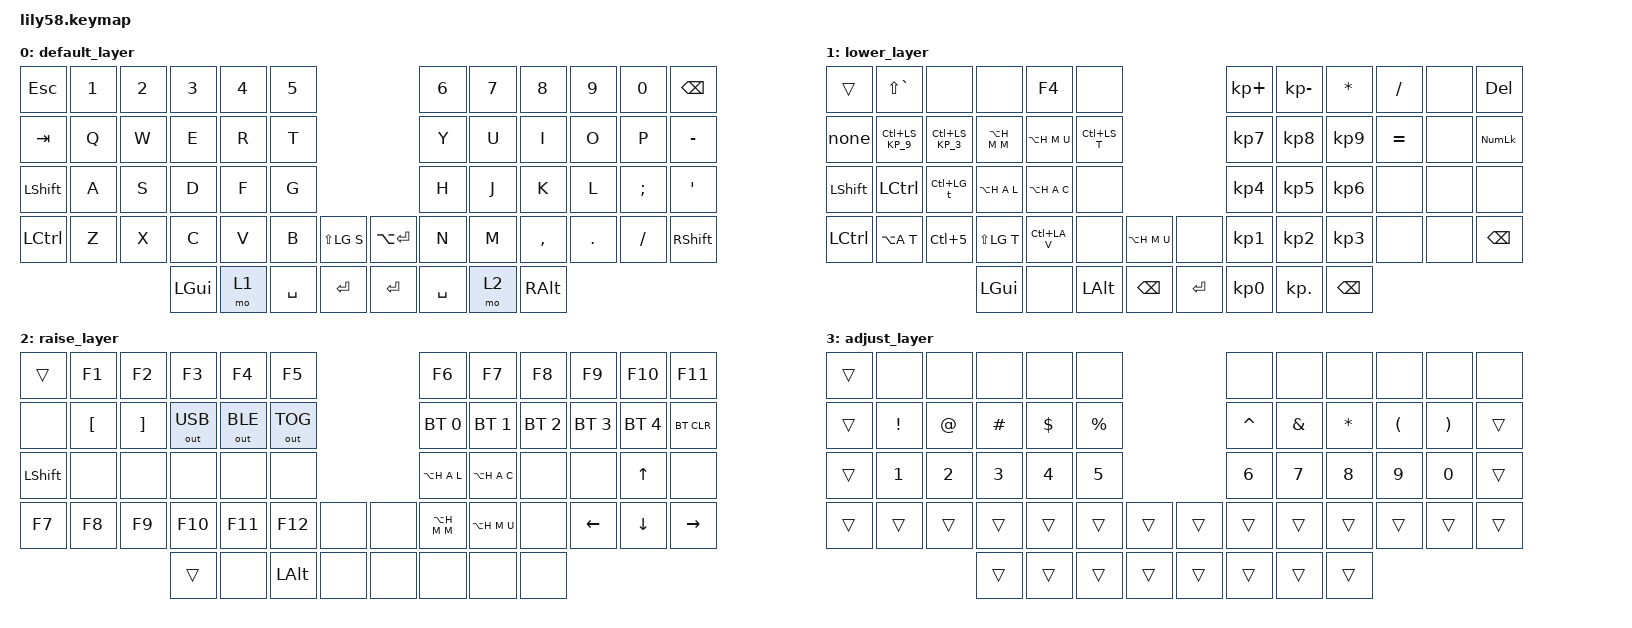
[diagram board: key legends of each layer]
/*
 * Copyright (c) 2020 The ZMK Contributors
 *
 * SPDX-License-Identifier: MIT
 */

 #include <behaviors.dtsi>
 #include <dt-bindings/zmk/keys.h>
 #include <dt-bindings/zmk/outputs.h>
 #include <dt-bindings/zmk/bt.h>


 
 / {
     conditional_layers {
         compatible = "zmk,conditional-layers";
 
         adjust_layer {
             if-layers = <1 2>;
             then-layer = <3>;
         };
     };
 
     keymap {
         compatible = "zmk,keymap";
 
         default_layer {
            bindings = <
&kp ESC   &kp N1   &kp N2 &kp N3    &kp N4   &kp N5                                 &kp N6    &kp N7   &kp N8    &kp N9  &kp N0   &kp BSPC
&kp TAB   &kp Q    &kp W  &kp E     &kp R    &kp T                                  &kp Y     &kp U    &kp I     &kp O   &kp P    &kp MINUS
&kp LSHFT &kp A    &kp S  &kp D     &kp F    &kp G                                  &kp H     &kp J    &kp K     &kp L   &kp SEMI &kp SQT
&kp LCTRL &kp Z    &kp X  &kp C     &kp V    &kp B     &kp LS(LG S)   &kp LA(RET) &kp N     &kp M    &kp COMMA &kp DOT &kp FSLH &kp RSHFT
                            &kp LGUI  &mo 1    &kp SPACE &kp RET          &kp RET     &kp SPACE &mo 2    &kp RALT
            >;
         };
         lower_layer {
         bindings = <
&trans    &kp LS(GRAVE)    &none             &none             &kp F4          &none                                     &kp KP_PLUS  &kp KP_MINUS   &kp ASTRK  &kp FSLH    &none      &kp DEL 
&kp none   &kp LC(LS KP_9)  &kp LC(LS KP_3)   &kp LA(H M M)     &kp LA(H M U)   &kp LC(LS T)                              &kp KP_7     &kp KP_8       &kp KP_9   &kp EQUAL   &none      &kp KP_NLCK  
&kp LSHFT  &kp LCTRL        &kp LC(LG t)      &kp LA(H A L)     &kp LA(H A C)   &none                                     &kp KP_4     &kp KP_5       &kp KP_6   &none       &none      &none    
&kp LCTRL  &kp LA(A T)      &kp LC(N5)        &kp LS(LG T)      &kp LC(LA V)    &none         &kp LA(H M U)     &none     &kp KP_1     &kp KP_2       &kp KP_3   &none       &none      &kp BSPC   
                                              &kp LGUI          &none           &kp LALT      &kp BSPC          &kp RET   &kp KP_0     &kp KP_DOT     &kp BSPC
            >;
         };
 
         raise_layer {
            bindings = <
&trans    &kp F1   &kp F2   &kp F3        &kp F4        &kp F5                      &kp F6        &kp F7         &kp F8        &kp F9        &kp F10       &kp F11
&none     &kp LBKT &kp RBKT &out OUT_USB  &out OUT_BLE  &out TOG                    &bt BT_SEL 0  &bt BT_SEL 1   &bt BT_SEL 2  &bt BT_SEL 3  &bt BT_SEL 4  &bt BT_CLR 
&kp LSHFT &none    &none    &none         &none         &none                       &kp LA(H A L) &kp LA(H A C)  &none         &none         &kp UP        &none
&kp F7    &kp F8   &kp F9   &kp F10       &kp F11       &kp F12   &none   &none     &kp LA(H M M) &kp LA(H M U)  &none         &kp LEFT      &kp DOWN      &kp RIGHT
                            &trans        &none         &kp LALT  &none   &none     &none         &none          &none
            >;
         };
 
         adjust_layer {
             bindings = <
 &trans  &none     &none   &none     &none     &none                        &none      &none     &none      &none                 &none                  &none
 &trans  &kp EXCL  &kp AT  &kp HASH  &kp DLLR  &kp PRCNT                    &kp CARET  &kp AMPS  &kp ASTRK  &kp LEFT_PARENTHESIS  &kp RIGHT_PARENTHESIS  &trans
 &trans  &kp N1    &kp N2  &kp N3    &kp N4    &kp N5                       &kp N6     &kp N7    &kp N8     &kp N9                &kp N0                 &trans
 &trans  &trans    &trans  &trans    &trans    &trans     &trans    &trans  &trans     &trans    &trans     &trans                &trans                 &trans
                           &trans    &trans    &trans     &trans    &trans  &trans     &trans    &trans
             >;
         };
     };
 };
